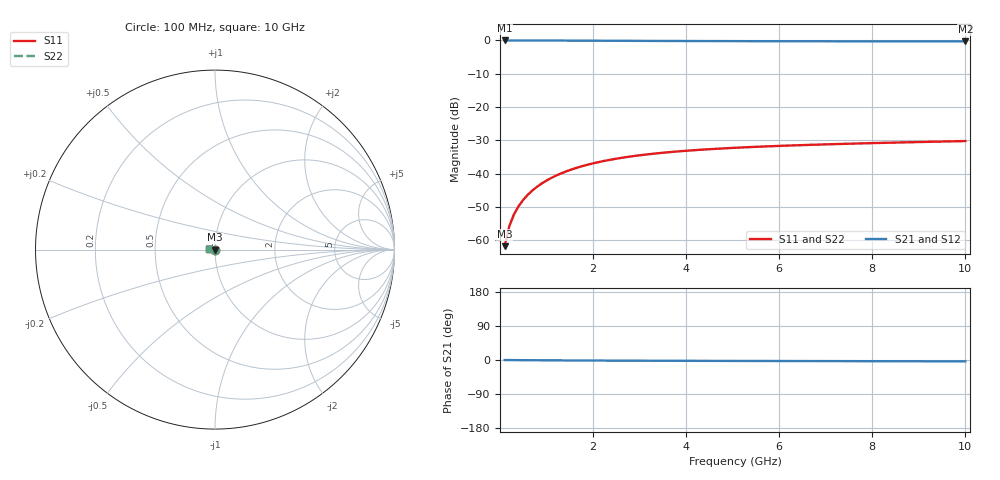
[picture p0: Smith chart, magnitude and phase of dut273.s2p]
! Touchstone file exported from HFSS 2024.1.0
!  File:  C:/UserFiles/LocalFiles/RDL_TSV_Batchsim/temp_TSV1_273_1779392558.aedt
!  Generated:  03:47:26 AM May 22, 2026
!  Design:  TSV1
!  Project:  temp_TSV1_273_1779392558
!  Setup:  Setup1
!  Solution:  Sweep
! Variables:
!  dtsv = 9.98um
!  hbump = 3um
!  htsv = 52.99um
!  lrdl = 252.1521522um
!  p = 40
!  p1 = 50.12um
!  t = 500um
!  trdl = 3um
!  wrdl = 24.89489489um
# GHz S MA R 50.000000
! Terminal data exported
! Port[1] = TSV22_T1
! Port[2] = TSV22_T2
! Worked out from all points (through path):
!   100 points, 100 MHz to 10 GHz, reference 50 ohm
!   highest |S21| = 0.00 dB at 100 MHz (marker M1); lowest = -0.3 dB at 10 GHz (marker M2)
!   lowest |S11| = -61.7 dB at 100 MHz (marker M3), VSWR 1.00, Z = 50 - j0.0817 ohm
!   |S11| at or under -10 dB: start of sweep to end of sweep
!   |S22| runs from -61.7 to -30.2 dB; largest |S21 - S12| = 1.2e-14
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0.1  0.0008213 -83.8  0.9999 -0.1  0.9999 -0.1  0.0008213 -83.8
! Gamma 0 0 0 0
! Port Impedance 50 0 50 0
0.2  0.001635 -89.5  0.9998 -0.2  0.9998 -0.2  0.001635 -89.5
0.3  0.002451 -92.7  0.9996 -0.3  0.9996 -0.3  0.002451 -92.7
0.4  0.003263 -95.3  0.9994 -0.3  0.9994 -0.3  0.003263 -95.3
0.5  0.004068 -97.6  0.9992 -0.4  0.9992 -0.4  0.004068 -97.6
0.6  0.004863 -99.8  0.9989 -0.5  0.9989 -0.5  0.004863 -99.8
0.7  0.005647 -101.9  0.9985 -0.6  0.9985 -0.6  0.005647 -101.9
0.8  0.006418 -103.9  0.9981 -0.7  0.9981 -0.7  0.006418 -103.9
0.9  0.007175 -105.8  0.9977 -0.7  0.9977 -0.7  0.007175 -105.8
1.1  0.008642 -109.6  0.9967 -0.9  0.9967 -0.9  0.008642 -109.6
1.4  0.01071 -114.9  0.9951 -1.1  0.9951 -1.1  0.01071 -114.9
1.6  0.012 -118.3  0.9939 -1.2  0.9939 -1.2  0.012 -118.3
1.8  0.01321 -121.5  0.9927 -1.3  0.9927 -1.3  0.01321 -121.5
2.1  0.01488 -126.1  0.9908 -1.5  0.9908 -1.5  0.01488 -126.1
2.5  0.01685 -131.7  0.9884 -1.7  0.9884 -1.7  0.01685 -131.7
2.9  0.01855 -136.9  0.986 -1.8  0.986 -1.8  0.01855 -136.9
3.4  0.02035 -142.7  0.9833 -2.0  0.9833 -2.0  0.02035 -142.7
4.2  0.02266 -150.8  0.9796 -2.3  0.9796 -2.3  0.02266 -150.8
5.1  0.02464 -158.5  0.9764 -2.5  0.9764 -2.5  0.02464 -158.5
6.7  0.02723 -169.6  0.9723 -2.9  0.9723 -2.9  0.02723 -169.6
8.4  0.0293 -179.0  0.9694 -3.2  0.9694 -3.2  0.0293 -179.0
10  0.03097 173.5  0.9676 -3.6  0.9676 -3.6  0.03097 173.5
